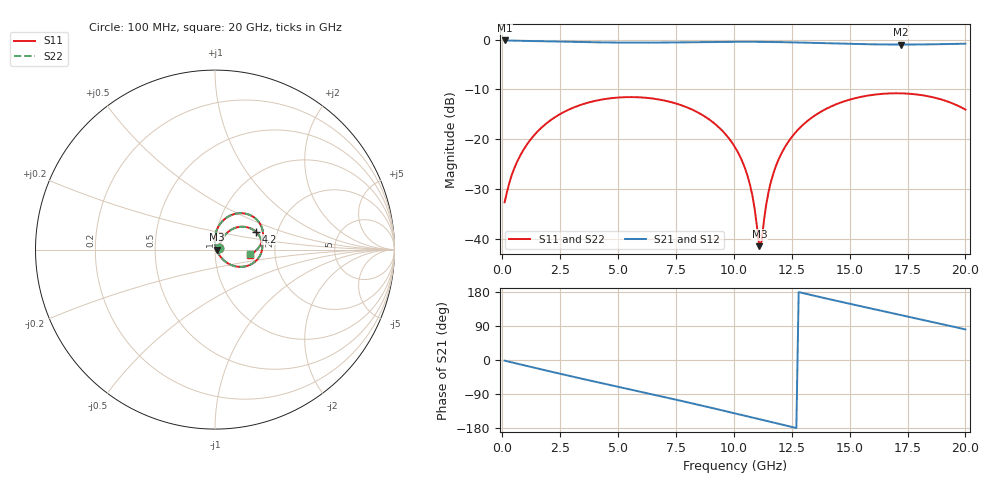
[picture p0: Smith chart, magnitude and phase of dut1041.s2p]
! Touchstone file exported from HFSS 2026.1.0
!  File:  C:/ffzhzh/LocalFiles/Ansys_Project_Files/temp_train_TSV_RDL_1041_1783295554_38704.aedt
!  Generated:  08:01:31 AM Jul  6, 2026
!  Design:  TSV_RDL
!  Project:  temp_train_TSV_RDL_1041_1783295554_38704
! Variables:
!  h_bsmrdl = 3.71um
!  h_ox = 20um
!  h_rdl = 5um
!  h_sub = 81.84um
!  h_tmrdl = 2.89um
!  h_tsv = 81.84um
!  h_via = 3um
!  l_bsmrdl = 800.42um
!  l_sub = 4400.91um
!  l_tmrdl = 366.95um
!  m_sub = 200um
!  pitch = 39.2um
!  r_tsv = 13.77um
!  s_tmrdl = 10um
!  w_bsmrdl = 29.24um
!  w_sub = 500um
!  w_tmrdl = 14.71um
!  x_tsv_center1 = 374.305um
!  x_tsv_center2 = 1203.965um
!  x_tsv_center3 = 1585.625um
!  x_tsv_center4 = 2415.285um
!  x_tsv_center5 = 2796.945um
!  x_tsv_center6 = 3626.605um
# GHz S MA R 50.000000
! Terminal data exported
! Port[1] = TM_RDL1_1_T1
! Port[2] = TM_RDL5_1_T1
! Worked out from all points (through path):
!   200 points, 100 MHz to 20 GHz, reference 50 ohm
!   highest |S21| = -0.19 dB at 100 MHz (marker M1); lowest = -1.0 dB at 17.2 GHz (marker M2)
!   group delay of S21, straight-line fit = 38.8 ps
!   lowest |S11| = -41.4 dB at 11.1 GHz (marker M3), VSWR 1.02, Z = 50.9 + j0.0163 ohm
!   |S11| at or under -10 dB: start of sweep to end of sweep
!   |S22| runs from -41.5 to -10.8 dB; largest |S21 - S12| = 1.7e-14
!   S11 on the Smith chart (normalised r, x): 100 MHz: 1.04, +0.02; 4.2 GHz: 1.54, +0.33; 20 GHz: 1.49, -0.09
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0.1  0.0234 23.4  0.9787 -1.6  0.9787 -1.6  0.0234 23.4
! Gamma 0 0 0 0
! Port Impedance 50 0 50 0
0.6  0.05683 53.3  0.9724 -9.0  0.9724 -9.0  0.05683 53.3
1.3  0.1048 55.2  0.9664 -19.2  0.9664 -19.2  0.1048 55.2
2.3  0.168 46.5  0.9561 -33.5  0.9561 -33.5  0.168 46.5
3.5  0.2257 32.4  0.943 -50.3  0.943 -50.3  0.2257 32.4
4.2  0.2479 23.7  0.9367 -59.9  0.9367 -59.9  0.2479 23.7
6.8  0.2499 -9.4  0.932 -95.1  0.932 -95.1  0.2499 -9.3
8.8  0.1662 -35.3  0.9438 -122.9  0.9438 -122.9  0.1662 -35.3
10.1  0.07968 -50.4  0.9492 -141.6  0.9492 -141.6  0.07969 -50.4
10.7  0.03482 -51.3  0.9492 -150.4  0.9492 -150.4  0.03483 -51.3
10.9  0.02004 -43.8  0.9488 -153.3  0.9488 -153.3  0.02003 -43.9
11.1  0.008496 1.1  0.9481 -156.2  0.9481 -156.2  0.008461 0.9
11.2  0.009553 50.8  0.9476 -157.7  0.9476 -157.7  0.009506 50.9
11.5  0.02978 88.3  0.946 -162.0  0.946 -162.0  0.02975 88.4
11.9  0.06033 90.7  0.943 -167.9  0.943 -167.9  0.06031 90.7
12.5  0.1053 85.5  0.9371 -176.6  0.9371 -176.6  0.1053 85.6
13.4  0.1671 74.7  0.9258 170.6  0.9258 170.6  0.1671 74.8
14.9  0.2457 55.6  0.9059 149.8  0.9059 149.8  0.2457 55.6
16.7  0.2883 32.9  0.8916 125.6  0.8916 125.6  0.2883 33.0
17.2  0.289 26.6  0.8908 119.0  0.8908 119.0  0.289 26.7
18.7  0.2605 7.9  0.8964 98.8  0.8964 98.8  0.2605 8.0
20  0.1984 -8.1  0.908 80.7  0.908 80.7  0.1984 -7.9
